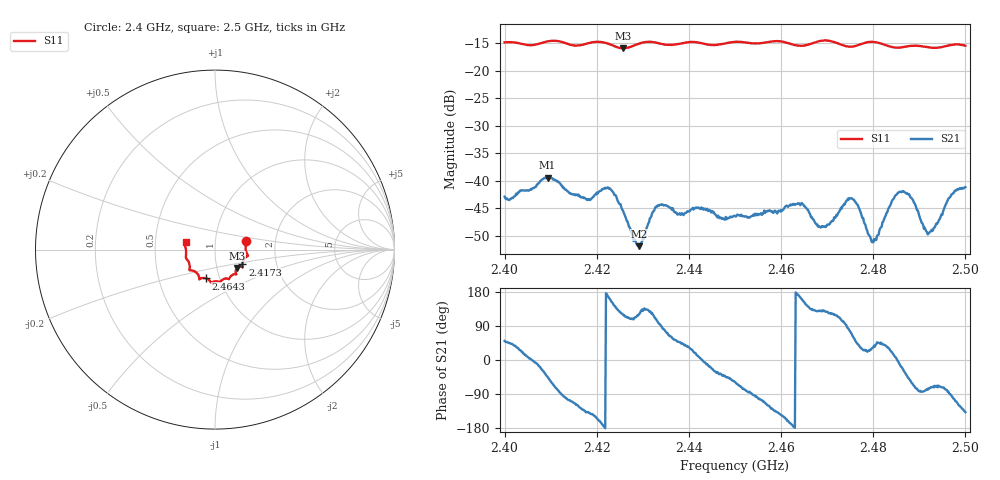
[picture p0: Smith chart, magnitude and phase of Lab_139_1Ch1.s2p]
# Hz S RI R 50
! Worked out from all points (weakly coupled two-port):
!   601 points, 2.4 GHz to 2.5 GHz, reference 50 ohm
!   highest |S21| = -39.40 dB at 2.4093 GHz (marker M1); lowest = -51.9 dB at 2.4292 GHz (marker M2)
!   lowest |S11| = -15.9 dB at 2.4257 GHz (marker M3), VSWR 1.38, Z = 62.4 - j13.1 ohm
!   |S11| at or under -10 dB: start of sweep to end of sweep
!   S12 and S22 are empty: the file has one direction only
!   S11 on the Smith chart (normalised r, x): 2.4 GHz: 1.41, +0.14; 2.4173 GHz: 1.34, -0.23; 2.4643 GHz: 0.86, -0.28; 2.5 GHz: 0.72, +0.06
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2.4e9  0.1736 0.049  0.0046 0.00553  0 0  0 0
2.409333e9  0.1822 -0.0296  0.00762 -0.00753  0 0  0 0
2.416667e9  0.1534 -0.075  -0.00446 -0.00547  0 0  0 0
2.417333e9  0.1525 -0.0826  -0.00488 -0.00507  0 0  0 0
2.4225e9  0.1482 -0.0942  -0.00845 0.00201  0 0  0 0
2.425667e9  0.1226 -0.102  -0.00273 0.00464  0 0  0 0
2.429167e9  0.116 -0.1321  -0.00133 0.00218  0 0  0 0
2.433333e9  0.113 -0.137  -0.00087 0.00593  0 0  0 0
2.437833e9  0.0833 -0.1535  0.00339 0.00365  0 0  0 0
2.441833e9  0.0749 -0.1643  0.00559 0.00115  0 0  0 0
2.45e9  0.0293 -0.1804  0.00253 -0.0041  0 0  0 0
2.464333e9  -0.0501 -0.1604  -0.00586 0.00182  0 0  0 0
2.466667e9  -0.076 -0.1593  -0.00328 0.00334  0 0  0 0
2.47e9  -0.0875 -0.1658  -0.00243 0.00317  0 0  0 0
2.475333e9  -0.109 -0.1241  0.00253 0.00648  0 0  0 0
2.480167e9  -0.1429 -0.1131  0.00235 0.00181  0 0  0 0
2.483333e9  -0.1406 -0.0899  0.00483 0.00294  0 0  0 0
2.485333e9  -0.1461 -0.0689  0.00777 -0.000396  0 0  0 0
2.487333e9  -0.1569 -0.0542  0.00577 -0.00518  0 0  0 0
2.492333e9  -0.1608 -0.0219  0.000967 -0.00332  0 0  0 0
2.496833e9  -0.1689 0.025  -0.000224 -0.0073  0 0  0 0
2.5e9  -0.1634 0.0417  -0.00649 -0.00591  0 0  0 0
